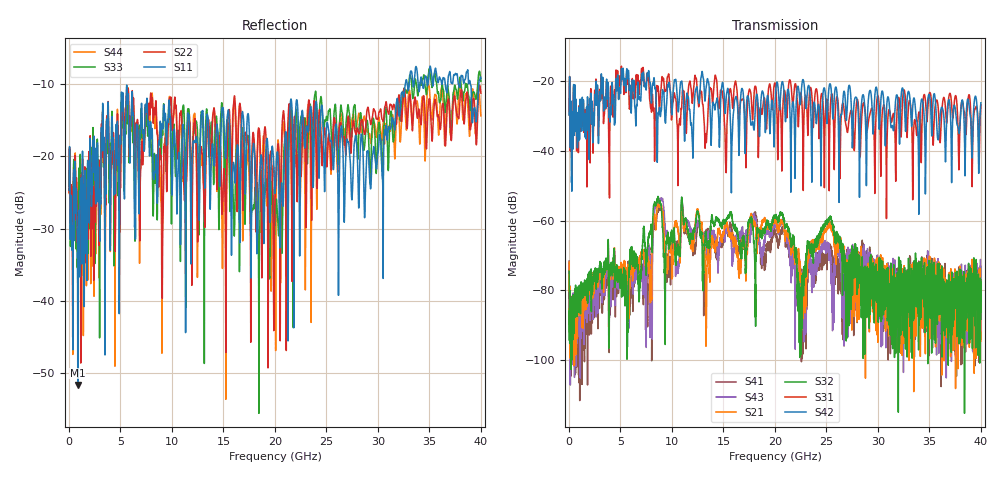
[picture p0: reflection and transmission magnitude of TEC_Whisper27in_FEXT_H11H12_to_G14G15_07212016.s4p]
! TE Connectivity
! H11H12-G14G15_FEXT
!! PART DESCRIPTION: Whisper 27in Megtron 6 HVLP-HVLP-HVLP Channel Model, bulkhead 2.92mm test points
!! MODEL DESCRIPTION: System 4-port S-parameter
!! MODEL STATUS: Measured
!! MODEL GEOMETRY: Channel Model
!! MODEL FREQUENCY RANGE: DC to 40 GHz in 10 MHz frequency steps
!! MODEL EDGE RATE LIMITATION: 12.5 ps (Using conservative 0.5/Fmax rule of thumb)
!! TIME-DOMAIN TRANSFORM CAUTIONS:
!! 1.) Do not simulate transient edge rates faster than the number listed above.  Edge
!!  rates faster than this number contain significant spectral content at frequencies
!!  above the model's highest frequency.
!! 2.) Even when simulating edge rates that are slower than the number listed above, be
!!  aware that the best time resolution possible with a direct iFFT is (1 / 2Fmax).
!!  As a result, time resolution is typically not adequate for most time-domain
!!  simulations unless tricks such as frequency-domain zero-padding and windowing are
!!  used to minimize leakage and aliasing.
!! 3.) Because the model has a uniform frequency step, a direct iFFT will result in an
!!  impulse that that has a time length given by either (1 / Fstep) or (1 / 2Fstep),
!!  depending on the transform being used.  Care has been taken in selecting the
!!  frequency step to ensure a settled impulse response for the model.  Therefore,
!!  convolution with the model's impulse response should present no issues.  However,
!!  if directly concatenating s-parameter models in the frequency domain a user must
!!  either interpolate necessary interim frequencies or complete impulse response
!!  zero-padding.  Impulse response zero-padding is more difficult, but more accurate.
!! PORT DEFINITIONS:
!! Port  1  ----->  Side A  H11  G14  Side B  <-----  Port  2
!! Port  3  ----->  Side A  H12  G15  Side B  <-----  Port  4
! Point-to-Point link (differential)  !
! Connectors:  !
!  1: STRADA Whisper 3.9mm  !
! Materials:  !
!  Backplane: Megtron-6 HVLP  !
!  Daughtercard: Megtron-6 HVLP  !
! Stack-up:  !
!  Backplane: 20 layers, 190mil thick  !
!  Daughtercard: 14 layers, 110mil thick  !
! Trace Length:  !
!  Backplane: 17in  !
!  Daughtercards: 5in  !
! Trace Width:  !
!  Backplane: 5.75-6.25-5.75 mils  !
!  Daughtercards: 6-9-6 mils  !
! Geometry:  !
!  Backplane: Stripline  !
!  Daughtercards: Stripline  !
! Layer Connections:  !
!  Backplane: Layer 16, counterbored(1-6mil stub)  !
!  Daughtercard: Layer 9, counterbored(1-6mil stub) !
! Freq. Range: 0 GHz - 40 GHz  !
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# hz S ma R 50
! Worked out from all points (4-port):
!   4000 points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, 10 MHz to 40 GHz, reference 50 ohm
!   strongest paths, dB at 10 MHz, 10.01 GHz, 20.01 GHz, 30.01 GHz, 40 GHz:
!     S42: -29.7, -28.8, -26.6, -26.3, -26.2
!     S31: -29.7, -28.6, -20.6, -24.2, -26.8
!     S32: -74.5, -64.2, -58.9, -86.5, -88.3
!     S21: -72.0, -75.3, -60.3, -72.4, -94.6
!     S43: -73.0, -64.6, -61.4, -76.7, -78.4
!     S41: -71.6, -67.6, -62.8, -71.7, -82.9
!   lowest |S11| = -51.6 dB at 850 MHz (marker M1), VSWR 1.01, Z = 49.9 + j0.23 ohm
!   |S11| at or under -10 dB: start of sweep to 32.66 GHz; 36.53 GHz to 36.78 GHz (247.6 MHz wide, 0.675 % of centre); 38.98 GHz to 39.79 GHz (815.8 MHz wide, 2.07 % of centre)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
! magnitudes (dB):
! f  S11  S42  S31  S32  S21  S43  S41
! 10 MHz  -24.7  -29.7  -29.7  -74.5  -72.0  -73.0  -71.6
! 850 MHz  -51.6  -30.4  -29.7  -84.2  -84.5  -85.4  -86.7
! 7.31 GHz  -19.2  -21.6  -21.5  -62.6  -70.0  -71.6  -70.3
! 8.8 GHz  -17.3  -27.7  -28.1  -54.6  -56.1  -54.6  -57.1
! 10.5 GHz  -27.0  -24.0  -32.3  -68.3  -61.1  -75.1  -66.6
! 17.93 GHz  -18.3  -33.6  -25.6  -66.3  -61.6  -58.4  -58.8
! 40 GHz  -9.3  -26.2  -26.8  -88.3  -94.6  -78.4  -82.9
